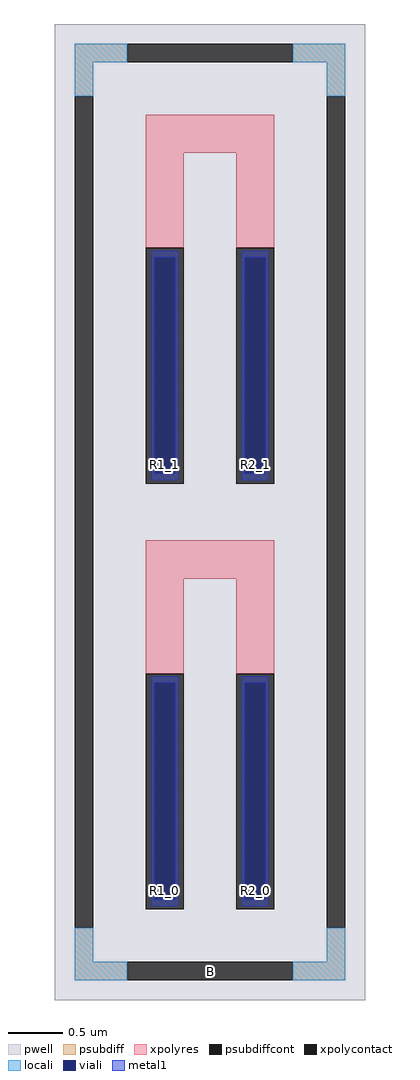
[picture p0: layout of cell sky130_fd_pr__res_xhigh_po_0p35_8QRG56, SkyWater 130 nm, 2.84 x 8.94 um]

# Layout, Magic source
magic
tech sky130A
magscale 1 2
<< pwell >>
rect -284 -894 284 894
<< psubdiff >>
rect -248 824 -152 858
rect 152 824 248 858
rect -248 762 -214 824
rect 214 762 248 824
rect -248 -824 -214 -762
rect 214 -824 248 -762
rect -248 -858 -152 -824
rect 152 -858 248 -824
<< psubdiffcont >>
rect -152 824 152 858
rect -248 -762 -214 762
rect 214 -762 248 762
rect -152 -858 152 -824
<< xpolycontact >>
rect -118 52 -48 484
rect 48 52 118 484
rect -118 -728 -48 -296
rect 48 -728 118 -296
<< xpolyres >>
rect -118 658 118 728
rect -118 484 -48 658
rect 48 484 118 658
rect -118 -122 118 -52
rect -118 -296 -48 -122
rect 48 -296 118 -122
<< locali >>
rect -248 824 -152 858
rect 152 824 248 858
rect -248 762 -214 824
rect 214 762 248 824
rect -248 -824 -214 -762
rect 214 -824 248 -762
rect -248 -858 -152 -824
rect 152 -858 248 -824
<< viali >>
rect -102 70 -64 467
rect 64 70 102 467
rect -102 -710 -64 -313
rect 64 -710 102 -313
<< metal1 >>
rect -108 467 -58 479
rect -108 70 -102 467
rect -64 70 -58 467
rect -108 58 -58 70
rect 58 467 108 479
rect 58 70 64 467
rect 102 70 108 467
rect 58 58 108 70
rect -108 -313 -58 -301
rect -108 -710 -102 -313
rect -64 -710 -58 -313
rect -108 -722 -58 -710
rect 58 -313 108 -301
rect 58 -710 64 -313
rect 102 -710 108 -313
rect 58 -722 108 -710
<< labels >>
rlabel psubdiffcont 0 -841 0 -841 0 B
port 1 nsew
rlabel xpolycontact -83 -693 -83 -693 0 R1_0
port 2 nsew
rlabel xpolycontact 83 -693 83 -693 0 R2_0
port 3 nsew
rlabel xpolycontact -83 87 -83 87 0 R1_1
port 4 nsew
rlabel xpolycontact 83 87 83 87 0 R2_1
port 5 nsew
<< properties >>
string FIXED_BBOX -231 -841 231 841
string gencell sky130_fd_pr__res_xhigh_po_0p35
string library sky130
string parameters w 0.350 l 0.700 m 2 nx 2 wmin 0.350 lmin 0.50 class resistor rho 2000 val 11.075k dummy 0 dw 0.0 term 188.2 sterm 0.0 caplen 0 wmax 0.350 guard 1 glc 1 grc 1 gtc 1 gbc 1 compatible {sky130_fd_pr__res_xhigh_po_0p35  sky130_fd_pr__res_xhigh_po_0p69 sky130_fd_pr__res_xhigh_po_1p41  sky130_fd_pr__res_xhigh_po_2p85 sky130_fd_pr__res_xhigh_po_5p73} snake 1 full_metal 1 n_guard 0 hv_guard 0 vias 1 viagb 0 viagt 0 viagl 0 viagr 0 doports 1
<< end >>
